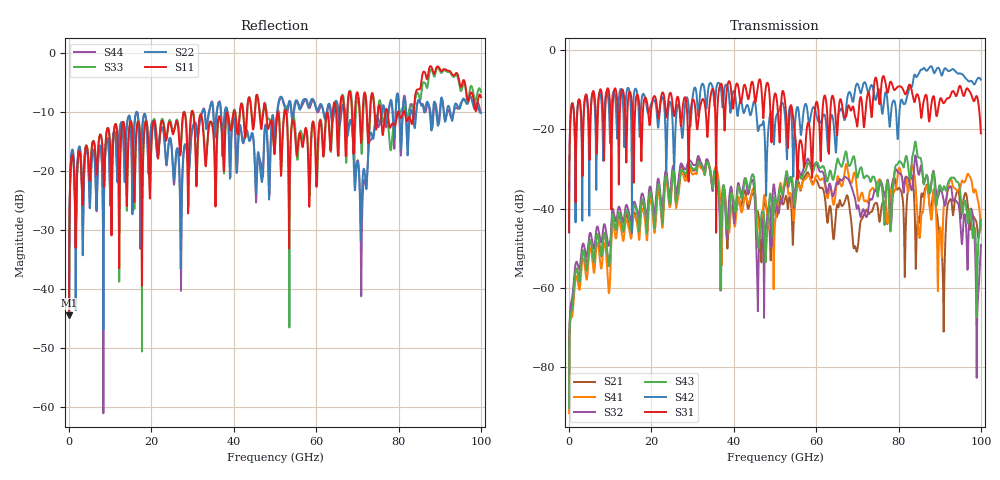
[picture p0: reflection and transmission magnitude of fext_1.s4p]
# Hz S RI R 50
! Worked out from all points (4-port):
!   10000 points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, 10 MHz to 100 GHz, reference 50 ohm
!   strongest paths, dB at 10 MHz, 25.01 GHz, 50.01 GHz, 75.01 GHz, 100 GHz:
!     S31: -46.0, -12.4, -10.9, -10.2, -21.0
!     S42: -45.9, -16.0, -18.9, -10.1, -7.5
!     S43: -90.3, -32.7, -37.4, -36.6, -42.7
!     S32: -88.6, -30.8, -36.1, -35.6, -49.2
!     S41: -91.6, -33.7, -43.6, -33.1, -45.4
!     S21: -89.7, -31.7, -40.5, -40.1, -43.8
!   lowest |S11| = -44.4 dB at 10 MHz (marker M1), VSWR 1.01, Z = 50.3 + j0.533 ohm
!   |S11| at or under -10 dB: start of sweep to 27.87 GHz; 30.09 GHz to 39.95 GHz (9.868 GHz wide, 28.2 % of centre); 52.71 GHz to 64.04 GHz (11.34 GHz wide, 19.4 % of centre)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
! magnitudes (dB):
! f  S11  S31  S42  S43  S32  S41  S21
! 10 MHz  -44.4  -46.0  -45.9  -90.3  -88.6  -91.6  -89.7
! 5.85 GHz  -14.9  -10.3  -11.0  -52.4  -49.6  -55.0  -51.8
! 31.46 GHz  -12.3  -17.1  -15.8  -28.1  -26.8  -28.8  -27.4
! 45.85 GHz  -7.7  -9.0  -20.3  -49.0  -65.7  -42.6  -40.8
! 58.02 GHz  -17.3  -18.3  -16.7  -28.5  -27.4  -31.6  -30.9
! 71.05 GHz  -13.9  -12.8  -10.4  -29.9  -41.3  -36.0  -42.7
! 100 GHz  -7.5  -21.0  -7.5  -42.7  -49.2  -45.4  -43.8
